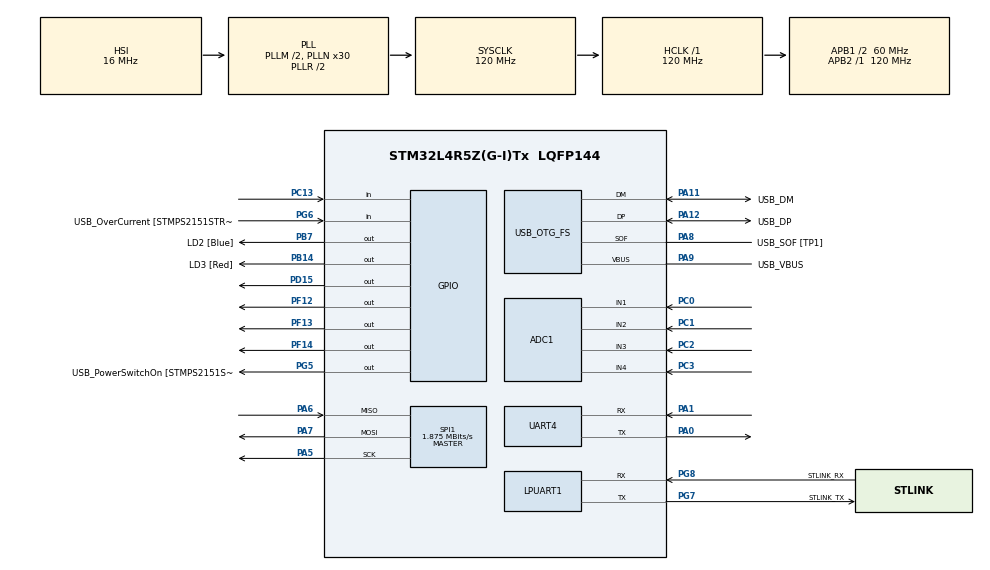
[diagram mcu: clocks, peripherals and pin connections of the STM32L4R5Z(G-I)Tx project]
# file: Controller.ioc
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ADC1.Channel-0\#ChannelRegularConversion=ADC_CHANNEL_1
ADC1.ClockPrescaler=ADC_CLOCK_ASYNC_DIV12
ADC1.NbrOfConversionFlag=1
ADC1.OffsetNumber-0\#ChannelRegularConversion=ADC_OFFSET_NONE
ADC1.Rank-0\#ChannelRegularConversion=1
ADC1.SamplingTime-0\#ChannelRegularConversion=ADC_SAMPLETIME_640CYCLES_5
ADC1.master=1
Mcu.Family=STM32L4
Mcu.Name=STM32L4R5Z(G-I)Tx
Mcu.Package=LQFP144
NVIC.PriorityGroup=NVIC_PRIORITYGROUP_4
NVIC.TIM3_IRQn=true\:1\:0\:true\:false\:true\:true\:true\:true
PA0.Mode=Asynchronous
PA0.Signal=UART4_TX
PA1.Mode=Asynchronous
PA1.Signal=UART4_RX
PA10.GPIO_Label=USB_ID
PA10.Signal=USB_OTG_FS_ID
PA11.GPIO_Label=USB_DM
PA11.Mode=Device_Only
PA11.Signal=USB_OTG_FS_DM
PA12.GPIO_Label=USB_DP
PA12.Mode=Device_Only
PA12.Signal=USB_OTG_FS_DP
PA13\ (JTMS/SWDIO).GPIO_Label=TMS
PA13\ (JTMS/SWDIO).Mode=Serial_Wire
PA13\ (JTMS/SWDIO).Signal=SYS_JTMS-SWDIO
PA14\ (JTCK/SWCLK).GPIO_Label=TCK
PA14\ (JTCK/SWCLK).Mode=Serial_Wire
PA14\ (JTCK/SWCLK).Signal=SYS_JTCK-SWCLK
PA5.Mode=Full_Duplex_Master
PA5.Signal=SPI1_SCK
PA6.Mode=Full_Duplex_Master
PA6.Signal=SPI1_MISO
PA7.Mode=Full_Duplex_Master
PA7.Signal=SPI1_MOSI
PA8.GPIO_Label=USB_SOF [TP1]
PA8.Mode=Activate_SOF_FS
PA8.Signal=USB_OTG_FS_SOF
PA9.GPIO_Label=USB_VBUS
PA9.Mode=Activate_VBUS
PA9.Signal=USB_OTG_FS_VBUS
PB14.GPIO_Label=LD3 [Red]
PB14.Signal=GPIO_Output
PB3\ (JTDO/TRACESWO).GPIO_Label=SWO
PB3\ (JTDO/TRACESWO).Signal=SYS_JTDO-SWO
PB7.GPIO_Label=LD2 [Blue]
PB7.Signal=GPIO_Output
PC0.Signal=ADCx_IN1
PC1.Signal=ADCx_IN2
PC13.Signal=GPIO_Input
PC14-OSC32_IN\ (PC14).Mode=LSE-External-Oscillator
PC14-OSC32_IN\ (PC14).Signal=RCC_OSC32_IN
PC15-OSC32_OUT\ (PC15).Mode=LSE-External-Oscillator
PC15-OSC32_OUT\ (PC15).Signal=RCC_OSC32_OUT
PC2.Signal=ADCx_IN3
PC3.Signal=ADCx_IN4
PD15.Signal=GPIO_Output
PD8.GPIO_Label=STLK_RX [STM32F103CBT6_PA3]
PD8.Signal=USART3_TX
PD9.GPIO_Label=STLK_TX [STM32F103CBT6_PA2]
PD9.Signal=USART3_RX
PF12.PinState=GPIO_PIN_SET
PF12.Signal=GPIO_Output
PF13.PinState=GPIO_PIN_SET
PF13.Signal=GPIO_Output
PF14.Signal=GPIO_Output
PG5.GPIO_Label=USB_PowerSwitchOn [STMPS2151STR_EN]
PG5.Signal=GPIO_Output
PG6.GPIO_Label=USB_OverCurrent [STMPS2151STR_FAULT]
PG6.Signal=GPIO_Input
PG7.GPIO_Label=STLINK_TX
PG7.Mode=Asynchronous
PG7.Signal=LPUART1_TX
PG8.GPIO_Label=STLINK_RX
PG8.Mode=Asynchronous
PG8.Signal=LPUART1_RX
PH0-OSC_IN\ (PH0).Mode=HSE-External-Clock-Source
PH0-OSC_IN\ (PH0).Signal=RCC_OSC_IN
PH1-OSC_OUT\ (PH1).Signal=RCC_OSC_OUT
ProjectManager.HeapSize=0x200
ProjectManager.StackSize=0x400
ProjectManager.TargetToolchain=STM32CubeIDE
RCC.48MHZClocksFreq_Value=24000000
RCC.ADCFreq_Value=48000000
RCC.AHBFreq_Value=120000000
RCC.APB1CLKDivider=RCC_HCLK_DIV2
RCC.APB1Freq_Value=60000000
RCC.APB1TimFreq_Value=120000000
RCC.APB2Freq_Value=120000000
RCC.APB2TimFreq_Value=120000000
RCC.CK48CLockSelection=RCC_USBCLKSOURCE_HSI48
RCC.CortexFreq_Value=120000000
RCC.HCLKFreq_Value=120000000
RCC.HSE_VALUE=8000000
RCC.HSI48_VALUE=48000000
RCC.HSI_VALUE=16000000
RCC.MSI_VALUE=4000000
RCC.PLLM1=2
RCC.PLLM2=2
RCC.PLLMUL=RCC_PLL_MUL9
RCC.PLLN=30
RCC.PLLSAI1N=12
RCC.PLLSourceVirtual=RCC_PLLSOURCE_HSI
RCC.PRESCALERUSB=RCC_USBCLKSOURCE_PLL_DIV1_5
RCC.SYSCLKFreq_VALUE=120000000
RCC.SYSCLKSource=RCC_SYSCLKSOURCE_PLLCLK
RCC.SYSCLKSourceVirtual=RCC_SYSCLKSOURCE_PLLCLK
RCC.USBFreq_Value=48000000
RCC.VCOOutputFreq_Value=240000000
SH.ADCx_IN1.0=ADC1_IN1,IN1-Single-Ended
SH.ADCx_IN2.0=ADC1_IN2,IN2-Single-Ended
SH.ADCx_IN3.0=ADC1_IN3,IN3-Single-Ended
SH.ADCx_IN4.0=ADC1_IN4,IN4-Single-Ended
SPI1.BaudRatePrescaler=SPI_BAUDRATEPRESCALER_64
SPI1.CalculateBaudRate=1.875 MBits/s
SPI1.DataSize=SPI_DATASIZE_8BIT
SPI1.Direction=SPI_DIRECTION_2LINES
SPI1.Mode=SPI_MODE_MASTER
SPI1.NSSPMode=SPI_NSS_PULSE_DISABLE
SPI1.VirtualType=VM_MASTER
TIM3.Period=49999
TIM3.Prescaler=8399
UART4.FIFOMode=FIFOMODE_ENABLE
USB_OTG_FS.VirtualMode=Device_Only
VP_TIM3_VS_ClockSourceINT.Mode=Internal
board=NUCLEO-L4R5ZI

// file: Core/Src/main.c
/* USER CODE BEGIN Header */
/**
 ******************************************************************************
 * @file           : main.c
 * @brief          : Main program body
 ******************************************************************************
 * @attention
 *
 * Copyright (c) 2022 STMicroelectronics.
 * All rights reserved.
 *
 * This software is licensed under terms that can be found in the LICENSE file
 * in the root directory of this software component.
 * If no LICENSE file comes with this software, it is provided AS-IS.
 *
 ******************************************************************************
 */
/* USER CODE END Header */
#include "main.h"

/* USER CODE BEGIN Includes */
#include "LCD.h"
#include "TS.h"
#include <stdlib.h>
/* USER CODE END Includes */

/* USER CODE BEGIN PD */
#define COL_1			40
#define COL_2 			155
#define COL_3  	 		268
#define ROW_1			204
#define ROW_2			350
#define ROW_3			454
#define ERROR			25

/* {0x00000000, 0x00000000} - ([0] => either 0 for desired state command, or a 1 for peripheral current_temp request command),
 *							([1] => first bit is furnace status, next 5 are desired temp, last 2 are vent id) */
#define DATA_SIZE 				2
#define RECEIVED_DATA_SIZE		1
#define SEND_DESIRED_STATE		0x00
#define RECEIVE_CURRENT_TEMP	0x80
#define FURNACE_ON				0x80
#define FURNACE_OFF				0x00
#define VENT_ID_1				0x01
#define VENT_ID_2				0x02
#define VENT_ID_3				0x03
#define NUM_ROOMS				3
/* USER CODE END PD */

ADC_HandleTypeDef hadc1;

UART_HandleTypeDef hlpuart1;
UART_HandleTypeDef huart4;

SPI_HandleTypeDef hspi1;

TIM_HandleTypeDef htim3;

PCD_HandleTypeDef hpcd_USB_OTG_FS;

/* USER CODE BEGIN PV */

struct currRoomStatetate {
	int8_t goal;
	int8_t temp;
	uint8_t id;
}typedef roomState_t;

uint8_t currFurnaceState = 0;
uint8_t prevFurnaceState = 0;
roomState_t prevRoomState[NUM_ROOMS];
roomState_t currRoomState[NUM_ROOMS];

void initRoom(roomState_t *room, int id, int goal, int temp) {
	room->id = id;
	room->goal = goal;
	room->temp = temp;
}

void initDisplay(SPI_HandleTypeDef *spi) {
	LCD_writePixels(&hspi1, LCD_color565(255, 255, 255), 0, 0, LCD_WIDTH, LCD_HEIGHT);
	for (int i = 0; i < NUM_ROOMS; ++i) {
		unsigned char buf[2];
		int size = 8;
		int start = (LCD_WIDTH / 3) * (currRoomState[i].id - 1) + size + 5;

		itoa(currRoomState[i].goal, &buf[0], 10);
		LCD_drawStringNoBG(spi, start, size, &buf[0], 2, LCD_color565(0, 0, 0), size);

		itoa(currRoomState[i].temp, &buf[0], 10);
		LCD_drawStringNoBG(spi, start, 9 * size, &buf[0], 2, LCD_color565(75, 75, 75), size);

		LCD_drawButtonNoBG(&hspi1, start, 18 * size, 0, LCD_color565(255, 0, 0), size * 2 + 1);
		LCD_drawButtonNoBG(&hspi1, start, 34 * size, 1, LCD_color565(0, 0, 255), size * 2 + 1);
	}
	unsigned char heat[4] = "HEAT";
	unsigned char air[3] = "AIR";
	LCD_writePixels(&hspi1, LCD_color565(0, 0, 0), 6, LCD_HEIGHT - 8 * 6 - 4, 23 * 6, 2);
	LCD_drawStringNoBG(spi, 6, LCD_HEIGHT - 8 * 6, &heat[0], 4, LCD_color565(0, 0, 0), 6);
	LCD_drawStringNoBG(spi, LCD_WIDTH - 18 * 6, LCD_HEIGHT - 8 * 6, &air[0], 3, LCD_color565(0, 0, 0), 6);
}

void updateDisplayTemp(SPI_HandleTypeDef *spi, int roomIdx) {
	unsigned char buf1[2];
	unsigned char buf2[2];
	int size = 8;
	int start = (LCD_WIDTH / 3) * (currRoomState[roomIdx].id - 1) + size + 5;
	uint8_t currTemp = currRoomState[roomIdx].temp;
	uint8_t prevTemp = prevRoomState[roomIdx].temp;
	uint8_t currGoal = currRoomState[roomIdx].goal;
	uint8_t prevGoal = prevRoomState[roomIdx].goal;

	// convert goals to strings
	itoa(currGoal, &buf1[0], 10);
	itoa(prevGoal, &buf2[0], 10);

	// If the first digit is different, update the entire string
	if (buf1[0] != buf2[0]) {
		LCD_drawStringOPT(spi, start, size, &buf1[0], &buf2[0], 2, LCD_color565(0, 0, 0), size);
	}
	// otherwise, only update the least significant digit
	else if (buf1[1] != buf2[1]) {
		LCD_drawCharOPT(spi, start + 6 * size, size, buf1[1], buf2[1], LCD_color565(0, 0, 0), size);
	}

	// convert temperatures to strings
	itoa(currTemp, &buf1[0], 10);
	itoa(prevTemp, &buf2[0], 10);

	// If the first digit is different, update the entire string
	if (buf1[0] != buf2[0]) {
		LCD_drawStringOPT(spi, start, 9 * size, &buf1[0], &buf2[0], 2, LCD_color565(75, 75, 75), size);
	}
	// otherwise, only update the least significant digit
	else if (buf1[1] != buf2[1]) {
		LCD_drawCharOPT(spi, start + 6 * size, 9 * size, buf1[1], buf2[1], LCD_color565(75, 75, 75), size);
	}
	prevRoomState[roomIdx] = currRoomState[roomIdx];
}

void updateDisplayFurnace(SPI_HandleTypeDef *spi) {
	int size = 6;
	if (currFurnaceState) {
		LCD_writePixels(spi, LCD_color565(255, 255, 255), size,LCD_HEIGHT - 8 * 6 - 4, 23 * size, 2);
		LCD_writePixels(&hspi1, LCD_color565(0, 0, 0), LCD_WIDTH - 18 * 6,LCD_HEIGHT - 8 * 6 - 4, 17 * size, 2);
	} else {
		LCD_writePixels(spi, LCD_color565(0, 0, 0), size,LCD_HEIGHT - 8 * 6 - 4, 23 * size, 2);
		LCD_writePixels(&hspi1, LCD_color565(255, 255, 255), LCD_WIDTH - 18 * 6,LCD_HEIGHT - 8 * 6 - 4, 17 * size, 2);
	}
	prevFurnaceState = currFurnaceState;
}

void transmitRoomInfo(uint8_t roomIdx, uint8_t *data_in, uint32_t timeout) {
	HAL_StatusTypeDef res;

	uint8_t lower_temp = ((currRoomState[roomIdx].goal & 0x0F) << 4) | currRoomState[roomIdx].id;
	HAL_UART_Transmit(&huart4, &lower_temp, 1, timeout);
	if (HAL_UART_Receive(&huart4, data_in, 1, timeout) != HAL_OK) return;

	uint8_t upper_temp = (currRoomState[roomIdx].goal & 0xF0) | currRoomState[roomIdx].id;
	HAL_UART_Transmit(&huart4, &upper_temp, 1, timeout);
	if (HAL_UART_Receive(&huart4, data_in, 1, timeout) != HAL_OK) return;

	uint8_t furnace = (currFurnaceState << 5) | currRoomState[roomIdx].id;
	HAL_UART_Transmit(&huart4, &furnace, 1, timeout);
	if (HAL_UART_Receive(&huart4, data_in, 1, timeout) != HAL_OK) return;
}

/* USER CODE END PV */

void SystemClock_Config(void);
static void MX_GPIO_Init(void);
static void MX_LPUART1_UART_Init(void);
static void MX_USB_OTG_FS_PCD_Init(void);
static void MX_ADC1_Init(void);
static void MX_SPI1_Init(void);
static void MX_UART4_Init(void);
static void MX_TIM3_Init(void);

int main(void)
{

  /* MCU Configuration--------------------------------------------------------*/

  /* Reset of all peripherals, Initializes the Flash interface and the Systick. */
  HAL_Init();

  /* Configure the system clock */
  SystemClock_Config();

  /* Initialize all configured peripherals */
  MX_GPIO_Init();
  MX_LPUART1_UART_Init();
  MX_USB_OTG_FS_PCD_Init();
  MX_ADC1_Init();
  MX_SPI1_Init();
  MX_UART4_Init();
  MX_TIM3_Init();
  /* USER CODE BEGIN 2 */
	LCD_begin(&hspi1);
	initRoom(&currRoomState[0], 1, 70, 65);
	initRoom(&currRoomState[1], 2, 70, 65);
	initRoom(&currRoomState[2], 3, 70, 65);
	prevRoomState[0] = currRoomState[0];
	prevRoomState[1] = currRoomState[1];
	prevRoomState[2] = currRoomState[2];
	initDisplay(&hspi1);

	HAL_TIM_Base_Start_IT(&htim3);

  /* USER CODE END 2 */

  /* Infinite loop */
  /* USER CODE BEGIN WHILE */
	double x, y, z;
	double X, Y;
	while (1) {
    /* USER CODE END WHILE */

    /* USER CODE BEGIN 3 */
		z = TS_readPressure(&hadc1);
		x = TS_readX(&hadc1);
		y = TS_readY(&hadc1);

		if (z < 1000) {
			TS_transform(x, y, &X, &Y);
			if (X > COL_1 - ERROR && X < COL_1 + ERROR) {
				if (Y > ROW_1 - ERROR && Y < ROW_1 + ERROR) {
					currRoomState[0].goal += 1;
				} else if (Y > ROW_2 - ERROR && Y < ROW_2 + ERROR) {
					currRoomState[0].goal -= 1;
				} else if (Y > ROW_3 - ERROR && Y < ROW_3 + ERROR) {
					currFurnaceState = 0;
				}
			} else if (X > COL_2 - ERROR && X < COL_2 + ERROR) {
				if (Y > ROW_1 - ERROR && Y < ROW_1 + ERROR) {
					currRoomState[1].goal += 1;
				} else if (Y > ROW_2 - ERROR && Y < ROW_2 + ERROR) {
					currRoomState[1].goal -= 1;
				}
			} else if (X > COL_3 - ERROR && X < COL_3 + ERROR) {
				if (Y > ROW_1 - ERROR && Y < ROW_1 + ERROR) {
					currRoomState[2].goal += 1;
				} else if (Y > ROW_2 - ERROR && Y < ROW_2 + ERROR) {
					currRoomState[2].goal -= 1;
				} else if (Y > ROW_3 - ERROR && Y < ROW_3 + ERROR) {
					currFurnaceState = 1;
				}
			}

			for (int i = 0; i < 3; ++i) {
				if (currRoomState[i].goal > 99) currRoomState[i].goal = 99;
				else if (currRoomState[i].goal < 0) currRoomState[i].goal = 0;

				if (currRoomState[i].temp > 99) currRoomState[i].temp = 99;
				else if (currRoomState[i].temp < 0) currRoomState[i].temp = 0;
			}

			if (currRoomState[0].goal != prevRoomState[0].goal) {
				updateDisplayTemp(&hspi1, 0);
			}

			if (currRoomState[1].goal != prevRoomState[1].goal) {
				updateDisplayTemp(&hspi1, 1);
			}

			if (currRoomState[2].goal != prevRoomState[2].goal) {
				updateDisplayTemp(&hspi1, 2);
			}

			if (currFurnaceState != prevFurnaceState) {
				updateDisplayFurnace(&hspi1);
			}
		}
		HAL_Delay(10);
	}
  /* USER CODE END 3 */
}

void SystemClock_Config(void)
{
  RCC_OscInitTypeDef RCC_OscInitStruct = {0};
  RCC_ClkInitTypeDef RCC_ClkInitStruct = {0};

  /** Configure the main internal regulator output voltage
  */
  if (HAL_PWREx_ControlVoltageScaling(PWR_REGULATOR_VOLTAGE_SCALE1_BOOST) != HAL_OK)
  {
    Error_Handler();
  }

  /** Initializes the RCC Oscillators according to the specified parameters
  * in the RCC_OscInitTypeDef structure.
  */
  RCC_OscInitStruct.OscillatorType = RCC_OSCILLATORTYPE_HSI48|RCC_OSCILLATORTYPE_HSI;
  RCC_OscInitStruct.HSIState = RCC_HSI_ON;
  RCC_OscInitStruct.HSI48State = RCC_HSI48_ON;
  RCC_OscInitStruct.HSICalibrationValue = RCC_HSICALIBRATION_DEFAULT;
  RCC_OscInitStruct.PLL.PLLState = RCC_PLL_ON;
  RCC_OscInitStruct.PLL.PLLSource = RCC_PLLSOURCE_HSI;
  RCC_OscInitStruct.PLL.PLLM = 2;
  RCC_OscInitStruct.PLL.PLLN = 30;
  RCC_OscInitStruct.PLL.PLLP = RCC_PLLP_DIV2;
  RCC_OscInitStruct.PLL.PLLQ = RCC_PLLQ_DIV2;
  RCC_OscInitStruct.PLL.PLLR = RCC_PLLR_DIV2;
  if (HAL_RCC_OscConfig(&RCC_OscInitStruct) != HAL_OK)
  {
    Error_Handler();
  }

  /** Initializes the CPU, AHB and APB buses clocks
  */
  RCC_ClkInitStruct.ClockType = RCC_CLOCKTYPE_HCLK|RCC_CLOCKTYPE_SYSCLK
                              |RCC_CLOCKTYPE_PCLK1|RCC_CLOCKTYPE_PCLK2;
  RCC_ClkInitStruct.SYSCLKSource = RCC_SYSCLKSOURCE_PLLCLK;
  RCC_ClkInitStruct.AHBCLKDivider = RCC_SYSCLK_DIV1;
  RCC_ClkInitStruct.APB1CLKDivider = RCC_HCLK_DIV2;
  RCC_ClkInitStruct.APB2CLKDivider = RCC_HCLK_DIV1;

  if (HAL_RCC_ClockConfig(&RCC_ClkInitStruct, FLASH_LATENCY_5) != HAL_OK)
  {
    Error_Handler();
  }
}

static void MX_ADC1_Init(void)
{

  ADC_ChannelConfTypeDef sConfig = {0};

  /** Common config
  */
  hadc1.Instance = ADC1;
  hadc1.Init.ClockPrescaler = ADC_CLOCK_ASYNC_DIV12;
  hadc1.Init.Resolution = ADC_RESOLUTION_12B;
  hadc1.Init.DataAlign = ADC_DATAALIGN_RIGHT;
  hadc1.Init.ScanConvMode = ADC_SCAN_DISABLE;
  hadc1.Init.EOCSelection = ADC_EOC_SINGLE_CONV;
  hadc1.Init.LowPowerAutoWait = DISABLE;
  hadc1.Init.ContinuousConvMode = DISABLE;
  hadc1.Init.NbrOfConversion = 1;
  hadc1.Init.DiscontinuousConvMode = DISABLE;
  hadc1.Init.ExternalTrigConv = ADC_SOFTWARE_START;
  hadc1.Init.ExternalTrigConvEdge = ADC_EXTERNALTRIGCONVEDGE_NONE;
  hadc1.Init.DMAContinuousRequests = DISABLE;
  hadc1.Init.Overrun = ADC_OVR_DATA_PRESERVED;
  hadc1.Init.OversamplingMode = DISABLE;
  if (HAL_ADC_Init(&hadc1) != HAL_OK)
  {
    Error_Handler();
  }

  /** Configure Regular Channel
  */
  sConfig.Channel = ADC_CHANNEL_1;
  sConfig.Rank = ADC_REGULAR_RANK_1;
  sConfig.SamplingTime = ADC_SAMPLETIME_640CYCLES_5;
  sConfig.SingleDiff = ADC_SINGLE_ENDED;
  sConfig.OffsetNumber = ADC_OFFSET_NONE;
  sConfig.Offset = 0;
  if (HAL_ADC_ConfigChannel(&hadc1, &sConfig) != HAL_OK)
  {
    Error_Handler();
  }

}

static void MX_LPUART1_UART_Init(void)
{

  hlpuart1.Instance = LPUART1;
  hlpuart1.Init.BaudRate = 209700;
  hlpuart1.Init.WordLength = UART_WORDLENGTH_7B;
  hlpuart1.Init.StopBits = UART_STOPBITS_1;
  hlpuart1.Init.Parity = UART_PARITY_NONE;
  hlpuart1.Init.Mode = UART_MODE_TX_RX;
  hlpuart1.Init.HwFlowCtl = UART_HWCONTROL_NONE;
  hlpuart1.Init.OneBitSampling = UART_ONE_BIT_SAMPLE_DISABLE;
  hlpuart1.Init.ClockPrescaler = UART_PRESCALER_DIV1;
  hlpuart1.AdvancedInit.AdvFeatureInit = UART_ADVFEATURE_NO_INIT;
  hlpuart1.FifoMode = UART_FIFOMODE_DISABLE;
  if (HAL_UART_Init(&hlpuart1) != HAL_OK)
  {
    Error_Handler();
  }
  if (HAL_UARTEx_SetTxFifoThreshold(&hlpuart1, UART_TXFIFO_THRESHOLD_1_8) != HAL_OK)
  {
    Error_Handler();
  }
  if (HAL_UARTEx_SetRxFifoThreshold(&hlpuart1, UART_RXFIFO_THRESHOLD_1_8) != HAL_OK)
  {
    Error_Handler();
  }
  if (HAL_UARTEx_DisableFifoMode(&hlpuart1) != HAL_OK)
  {
    Error_Handler();
  }

}

static void MX_UART4_Init(void)
{

  huart4.Instance = UART4;
  huart4.Init.BaudRate = 115200;
  huart4.Init.WordLength = UART_WORDLENGTH_8B;
  huart4.Init.StopBits = UART_STOPBITS_1;
  huart4.Init.Parity = UART_PARITY_NONE;
  huart4.Init.Mode = UART_MODE_TX_RX;
  huart4.Init.HwFlowCtl = UART_HWCONTROL_NONE;
  huart4.Init.OverSampling = UART_OVERSAMPLING_16;
  huart4.Init.OneBitSampling = UART_ONE_BIT_SAMPLE_DISABLE;
  huart4.Init.ClockPrescaler = UART_PRESCALER_DIV1;
  huart4.AdvancedInit.AdvFeatureInit = UART_ADVFEATURE_NO_INIT;
  if (HAL_UART_Init(&huart4) != HAL_OK)
  {
    Error_Handler();
  }
  if (HAL_UARTEx_SetTxFifoThreshold(&huart4, UART_TXFIFO_THRESHOLD_1_8) != HAL_OK)
  {
    Error_Handler();
  }
  if (HAL_UARTEx_SetRxFifoThreshold(&huart4, UART_RXFIFO_THRESHOLD_1_8) != HAL_OK)
  {
    Error_Handler();
  }
  if (HAL_UARTEx_EnableFifoMode(&huart4) != HAL_OK)
  {
    Error_Handler();
  }

}

static void MX_SPI1_Init(void)
{

  /* SPI1 parameter configuration*/
  hspi1.Instance = SPI1;
  hspi1.Init.Mode = SPI_MODE_MASTER;
  hspi1.Init.Direction = SPI_DIRECTION_2LINES;
  hspi1.Init.DataSize = SPI_DATASIZE_8BIT;
  hspi1.Init.CLKPolarity = SPI_POLARITY_LOW;
  hspi1.Init.CLKPhase = SPI_PHASE_1EDGE;
  hspi1.Init.NSS = SPI_NSS_SOFT;
  hspi1.Init.BaudRatePrescaler = SPI_BAUDRATEPRESCALER_64;
  hspi1.Init.FirstBit = SPI_FIRSTBIT_MSB;
  hspi1.Init.TIMode = SPI_TIMODE_DISABLE;
  hspi1.Init.CRCCalculation = SPI_CRCCALCULATION_DISABLE;
  hspi1.Init.CRCPolynomial = 7;
  hspi1.Init.CRCLength = SPI_CRC_LENGTH_DATASIZE;
  hspi1.Init.NSSPMode = SPI_NSS_PULSE_DISABLE;
  if (HAL_SPI_Init(&hspi1) != HAL_OK)
  {
    Error_Handler();
  }

}

static void MX_TIM3_Init(void)
{

  TIM_ClockConfigTypeDef sClockSourceConfig = {0};
  TIM_MasterConfigTypeDef sMasterConfig = {0};

  htim3.Instance = TIM3;
  htim3.Init.Prescaler = 8399;
  htim3.Init.CounterMode = TIM_COUNTERMODE_UP;
  htim3.Init.Period = 49999;
  htim3.Init.ClockDivision = TIM_CLOCKDIVISION_DIV1;
  htim3.Init.AutoReloadPreload = TIM_AUTORELOAD_PRELOAD_DISABLE;
  if (HAL_TIM_Base_Init(&htim3) != HAL_OK)
  {
    Error_Handler();
  }
  sClockSourceConfig.ClockSource = TIM_CLOCKSOURCE_INTERNAL;
  if (HAL_TIM_ConfigClockSource(&htim3, &sClockSourceConfig) != HAL_OK)
  {
    Error_Handler();
  }
  sMasterConfig.MasterOutputTrigger = TIM_TRGO_RESET;
  sMasterConfig.MasterSlaveMode = TIM_MASTERSLAVEMODE_DISABLE;
  if (HAL_TIMEx_MasterConfigSynchronization(&htim3, &sMasterConfig) != HAL_OK)
  {
    Error_Handler();
  }

}

static void MX_USB_OTG_FS_PCD_Init(void)
{

  hpcd_USB_OTG_FS.Instance = USB_OTG_FS;
  hpcd_USB_OTG_FS.Init.dev_endpoints = 6;
  hpcd_USB_OTG_FS.Init.phy_itface = PCD_PHY_EMBEDDED;
  hpcd_USB_OTG_FS.Init.Sof_enable = ENABLE;
  hpcd_USB_OTG_FS.Init.low_power_enable = DISABLE;
  hpcd_USB_OTG_FS.Init.lpm_enable = DISABLE;
  hpcd_USB_OTG_FS.Init.battery_charging_enable = ENABLE;
  hpcd_USB_OTG_FS.Init.use_dedicated_ep1 = DISABLE;
  hpcd_USB_OTG_FS.Init.vbus_sensing_enable = ENABLE;
  if (HAL_PCD_Init(&hpcd_USB_OTG_FS) != HAL_OK)
  {
    Error_Handler();
  }

}

static void MX_GPIO_Init(void)
{
  GPIO_InitTypeDef GPIO_InitStruct = {0};

  /* GPIO Ports Clock Enable */
  __HAL_RCC_GPIOC_CLK_ENABLE();
  __HAL_RCC_GPIOH_CLK_ENABLE();
  __HAL_RCC_GPIOA_CLK_ENABLE();
  __HAL_RCC_GPIOF_CLK_ENABLE();
  __HAL_RCC_GPIOB_CLK_ENABLE();
  __HAL_RCC_GPIOD_CLK_ENABLE();
  __HAL_RCC_GPIOG_CLK_ENABLE();
  HAL_PWREx_EnableVddIO2();

  /*Configure GPIO pin Output Level */
  HAL_GPIO_WritePin(GPIOF, GPIO_PIN_12|GPIO_PIN_13, GPIO_PIN_SET);

  /*Configure GPIO pin Output Level */
  HAL_GPIO_WritePin(GPIOF, GPIO_PIN_14, GPIO_PIN_RESET);

  /*Configure GPIO pin Output Level */
  HAL_GPIO_WritePin(GPIOB, LD3_Pin|LD2_Pin, GPIO_PIN_RESET);

  /*Configure GPIO pin Output Level */
  HAL_GPIO_WritePin(GPIOD, GPIO_PIN_15, GPIO_PIN_RESET);

  /*Configure GPIO pin Output Level */
  HAL_GPIO_WritePin(USB_PowerSwitchOn_GPIO_Port, USB_PowerSwitchOn_Pin, GPIO_PIN_RESET);

  /*Configure GPIO pin : PC13 */
  GPIO_InitStruct.Pin = GPIO_PIN_13;
  GPIO_InitStruct.Mode = GPIO_MODE_INPUT;
  GPIO_InitStruct.Pull = GPIO_NOPULL;
  HAL_GPIO_Init(GPIOC, &GPIO_InitStruct);

  /*Configure GPIO pins : PF12 PF13 PF14 */
  GPIO_InitStruct.Pin = GPIO_PIN_12|GPIO_PIN_13|GPIO_PIN_14;
  GPIO_InitStruct.Mode = GPIO_MODE_OUTPUT_PP;
  GPIO_InitStruct.Pull = GPIO_NOPULL;
  GPIO_InitStruct.Speed = GPIO_SPEED_FREQ_LOW;
  HAL_GPIO_Init(GPIOF, &GPIO_InitStruct);

  /*Configure GPIO pins : LD3_Pin LD2_Pin */
  GPIO_InitStruct.Pin = LD3_Pin|LD2_Pin;
  GPIO_InitStruct.Mode = GPIO_MODE_OUTPUT_PP;
  GPIO_InitStruct.Pull = GPIO_NOPULL;
  GPIO_InitStruct.Speed = GPIO_SPEED_FREQ_LOW;
  HAL_GPIO_Init(GPIOB, &GPIO_InitStruct);

  /*Configure GPIO pins : STLK_RX_Pin STLK_TX_Pin */
  GPIO_InitStruct.Pin = STLK_RX_Pin|STLK_TX_Pin;
  GPIO_InitStruct.Mode = GPIO_MODE_AF_PP;
  GPIO_InitStruct.Pull = GPIO_NOPULL;
  GPIO_InitStruct.Speed = GPIO_SPEED_FREQ_VERY_HIGH;
  GPIO_InitStruct.Alternate = GPIO_AF7_USART3;
  HAL_GPIO_Init(GPIOD, &GPIO_InitStruct);

  /*Configure GPIO pin : PD15 */
  GPIO_InitStruct.Pin = GPIO_PIN_15;
  GPIO_InitStruct.Mode = GPIO_MODE_OUTPUT_PP;
  GPIO_InitStruct.Pull = GPIO_NOPULL;
  GPIO_InitStruct.Speed = GPIO_SPEED_FREQ_LOW;
  HAL_GPIO_Init(GPIOD, &GPIO_InitStruct);

  /*Configure GPIO pin : USB_PowerSwitchOn_Pin */
  GPIO_InitStruct.Pin = USB_PowerSwitchOn_Pin;
  GPIO_InitStruct.Mode = GPIO_MODE_OUTPUT_PP;
  GPIO_InitStruct.Pull = GPIO_NOPULL;
  GPIO_InitStruct.Speed = GPIO_SPEED_FREQ_LOW;
  HAL_GPIO_Init(USB_PowerSwitchOn_GPIO_Port, &GPIO_InitStruct);

  /*Configure GPIO pin : USB_OverCurrent_Pin */
  GPIO_InitStruct.Pin = USB_OverCurrent_Pin;
  GPIO_InitStruct.Mode = GPIO_MODE_INPUT;
  GPIO_InitStruct.Pull = GPIO_NOPULL;
  HAL_GPIO_Init(USB_OverCurrent_GPIO_Port, &GPIO_InitStruct);

}

/* USER CODE BEGIN 4 */
void HAL_TIM_PeriodElapsedCallback(TIM_HandleTypeDef *htim) {
	if (htim == &htim3) {
		transmitRoomInfo(0, &currRoomState[0].temp, 200);
		transmitRoomInfo(1, &currRoomState[1].temp, 200);
		transmitRoomInfo(2, &currRoomState[2].temp, 200);

		if (currRoomState[0].temp != prevRoomState[0].temp) {
			updateDisplayTemp(&hspi1, 0);
			prevRoomState[0].temp = currRoomState[0].temp;
		}

		if (currRoomState[1].temp != prevRoomState[1].temp) {
			updateDisplayTemp(&hspi1, 1);
			prevRoomState[1].temp = currRoomState[1].temp;
		}

		if (currRoomState[2].temp != prevRoomState[2].temp) {
			updateDisplayTemp(&hspi1, 2);
			prevRoomState[2].temp = currRoomState[2].temp;
		}
	}
}
/* USER CODE END 4 */

void Error_Handler(void)
{
	__disable_irq();
	while (1) {
	}
}
